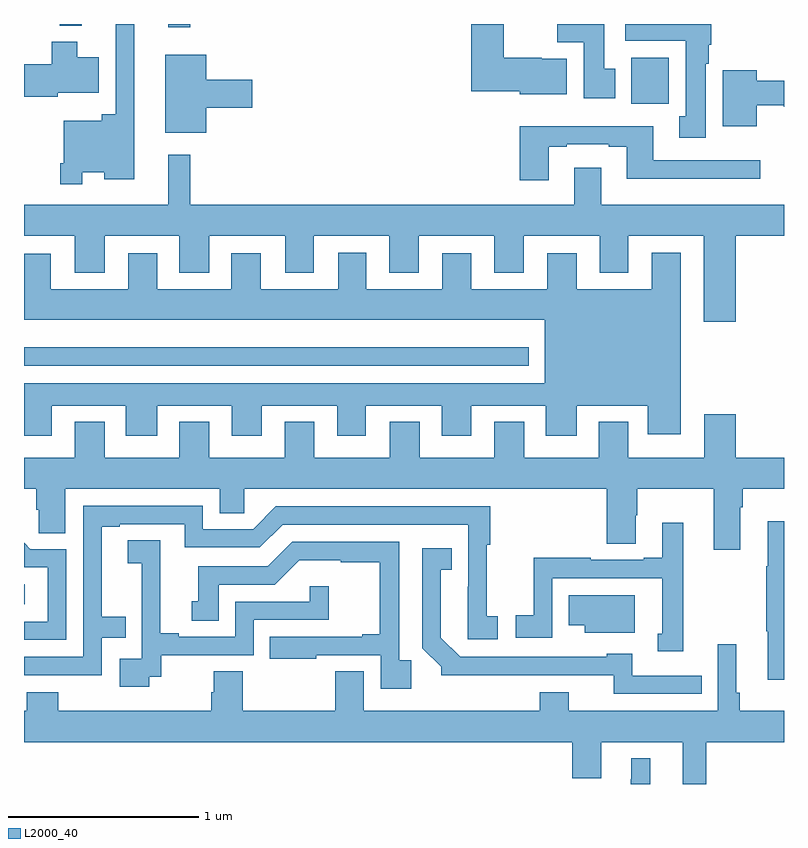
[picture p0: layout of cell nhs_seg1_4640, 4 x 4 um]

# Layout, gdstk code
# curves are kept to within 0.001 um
import gdstk
lib = gdstk.Library(unit=1e-6, precision=1e-09)
def R(c, l, rs):  # rectangles x0, y0, x1, y1
    for r in rs: c.add(gdstk.rectangle(r[:2], r[2:], *l))
def P(c, l, *ps):  # polygons
    for p in ps: c.add(gdstk.Polygon(p, *l))
L2000_40 = (2000, 40)

nhs_seg1_4640 = lib.new_cell('nhs_seg1_4640')
R(nhs_seg1_4640, L2000_40, [(363,531.146,363.004,531.25), (363,532.401,365.656,532.498), (366.197,533.78,366.394,534.022), (363.758,534.183,363.875,534.199), (363.187,534.191,363.305,534.199)])
P(nhs_seg1_4640, L2000_40, [(365.857,534.016),(365.724,534.016),(365.724,534.022),(365.524,534.022),(365.524,534.199),(365.354,534.199),(365.354,533.846),(365.61,533.846),(365.61,533.828),(365.857,533.828)],
  [(366.589,533.99),(366.604,533.99),(366.604,534.09),(366.616,534.09),(366.616,534.199),(366.165,534.199),(366.165,534.11),(366.482,534.11),(366.482,533.714),(366.449,533.714),(366.449,533.601),(366.589,533.601)],
  [(363.306,533.42),(363.422,533.42),(363.422,533.381),(363.58,533.381),(363.58,534.199),(363.483,534.199),(363.483,533.725),(363.41,533.725),(363.41,533.689),(363.21,533.689),(363.21,533.467),(363.19,533.467),(363.19,533.355),(363.306,533.355)],
  [(366.112,533.964),(366.055,533.964),(366.055,534.199),(365.806,534.199),(365.806,534.104),(365.945,534.104),(365.945,533.808),(366.112,533.808)],
  [(363.178,533.837),(363.394,533.837),(363.394,534.025),(363.28,534.025),(363.28,534.106),(363.146,534.106),(363.146,533.988),(363,533.988),(363,533.816),(363.178,533.816)],
  [(363.958,533.759),(364.201,533.759),(364.201,533.906),(363.958,533.906),(363.958,534.037),(363.743,534.037),(363.743,533.627),(363.958,533.627)],
  [(366.856,533.772),(366.999,533.772),(366.999,533.764),(367,533.764),(367,533.9),(366.856,533.9),(366.856,533.956),(366.677,533.956),(366.677,533.66),(366.856,533.66)],
  [(365.761,533.553),(365.857,533.553),(365.857,533.565),(366.077,533.565),(366.077,533.553),(366.173,533.553),(366.173,533.384),(366.874,533.384),(366.874,533.481),(366.313,533.481),(366.313,533.662),(365.609,533.662),(365.609,533.376),(365.761,533.376)],
  [(366.037,533.443),(365.897,533.443),(365.897,533.248),(363.875,533.248),(363.875,533.512),(363.758,533.512),(363.758,533.248),(363,533.248),(363,533.084),(363.266,533.084),(363.266,532.89),(363.424,532.89),(363.424,533.084),(363.818,533.084),(363.818,532.89),(363.976,532.89),(363.976,533.084),(364.376,533.084),(364.376,532.89),(364.525,532.89),(364.525,533.084),(364.922,533.084),(364.922,532.89),(365.077,532.89),(365.077,533.084),(365.474,533.084),(365.474,532.89),(365.629,532.89),(365.629,533.084),(366.029,533.084),(366.029,532.89),(366.181,532.89),(366.181,533.084),(366.578,533.084),(366.578,532.632),(366.746,532.632),(366.746,533.084),(367,533.084),(367,533.248),(366.037,533.248)],
  [(363.145,532.19),(363.536,532.19),(363.536,532.032),(363.7,532.032),(363.7,532.19),(364.094,532.19),(364.094,532.032),(364.252,532.032),(364.252,532.19),(364.649,532.19),(364.649,532.032),(364.798,532.032),(364.798,532.19),(365.198,532.19),(365.198,532.032),(365.353,532.032),(365.353,532.19),(365.747,532.19),(365.747,532.032),(365.908,532.032),(365.908,532.19),(366.284,532.19),(366.284,532.04),(366.457,532.04),(366.457,532.996),(366.305,532.996),(366.305,532.804),(365.908,532.804),(365.908,532.993),(365.753,532.993),(365.753,532.804),(365.353,532.804),(365.353,532.993),(365.201,532.993),(365.201,532.804),(364.801,532.804),(364.801,532.996),(364.655,532.996),(364.655,532.804),(364.246,532.804),(364.246,532.993),(364.091,532.993),(364.091,532.804),(363.7,532.804),(363.7,532.993),(363.548,532.993),(363.548,532.804),(363.142,532.804),(363.142,532.99),(363,532.99),(363,532.643),(365.741,532.643),(365.741,532.309),(363,532.309),(363,532.032),(363.145,532.032)],
  [(366.769,531.656),(366.782,531.656),(366.782,531.752),(367,531.752),(367,531.916),(366.746,531.916),(366.746,532.144),(366.581,532.144),(366.581,531.916),(366.181,531.916),(366.181,532.105),(366.026,532.105),(366.026,531.916),(365.632,531.916),(365.632,532.105),(365.474,532.105),(365.474,531.916),(365.083,531.916),(365.083,532.105),(364.925,532.105),(364.925,531.916),(364.528,531.916),(364.528,532.105),(364.373,532.105),(364.373,531.916),(363.976,531.916),(363.976,532.105),(363.818,532.105),(363.818,531.916),(363.424,531.916),(363.424,532.105),(363.266,532.105),(363.266,531.916),(363,531.916),(363,531.752),(363.065,531.752),(363.065,531.643),(363.078,531.643),(363.078,531.52),(363.217,531.52),(363.217,531.752),(364.031,531.752),(364.031,531.625),(364.158,531.625),(364.158,531.752),(366.068,531.752),(366.068,531.463),(366.22,531.463),(366.22,531.614),(366.228,531.614),(366.228,531.752),(366.629,531.752),(366.629,531.432),(366.769,531.432)],
  [(363.408,530.97),(363.536,530.97),(363.536,531.079),(363.409,531.079),(363.409,531.552),(363.505,531.552),(363.505,531.567),(363.846,531.567),(363.846,531.444),(364.242,531.444),(364.362,531.564),(365.337,531.564),(365.336,530.961),(365.494,530.961),(365.494,531.081),(365.436,531.081),(365.436,531.457),(365.453,531.457),(365.453,531.66),(364.326,531.66),(364.206,531.54),(363.942,531.54),(363.942,531.663),(363.312,531.663),(363.312,530.868),(363,530.868),(363,530.772),(363.408,530.772)],
  [(367,531.583),(366.914,531.583),(366.914,531.344),(366.907,531.344),(366.907,531.003),(366.914,531.003),(366.914,530.748),(367,530.748)],
  [(366.469,531.574),(366.359,531.574),(366.359,531.391),(366.263,531.391),(366.263,531.378),(365.984,531.378),(365.984,531.391),(365.683,531.391),(365.683,531.086),(365.589,531.086),(365.589,530.97),(365.781,530.97),(365.781,531.282),(366.359,531.282),(366.359,530.991),(366.335,530.991),(366.335,530.897),(366.469,530.897)],
  [(363.66,530.763),(363.722,530.763),(363.722,530.877),(364.209,530.877),(364.209,531.063),(364.604,531.063),(364.604,531.241),(364.503,531.241),(364.503,531.159),(364.113,531.159),(364.113,530.973),(363.814,530.973),(363.814,530.993),(363.718,530.993),(363.718,531.371),(363.716,531.371),(363.716,531.482),(363.546,531.482),(363.546,531.361),(363.62,531.361),(363.62,531.163),(363.621,531.163),(363.621,530.859),(363.504,530.859),(363.504,530.712),(363.66,530.712)],
  [(365.039,530.851),(364.974,530.851),(364.974,531.474),(364.413,531.474),(364.284,531.345),(363.917,531.345),(363.917,531.162),(363.884,531.162),(363.884,531.058),(364.024,531.058),(364.024,531.249),(364.32,531.249),(364.448,531.377),(364.667,531.377),(364.667,531.366),(364.873,531.366),(364.873,530.986),(364.781,530.986),(364.781,530.973),(364.294,530.973),(364.294,530.858),(364.537,530.858),(364.537,530.877),(364.878,530.877),(364.878,530.7),(365.039,530.7)],
  [(363.222,531.435),(363.033,531.435),(363,531.468),(363,531.339),(363.126,531.339),(363.126,531.054),(363,531.054),(363,530.958),(363.222,530.958)],
  [(366.566,530.769),(366.202,530.769),(366.202,530.884),(366.066,530.884),(366.066,530.868),(365.295,530.868),(365.194,530.969),(365.194,531.326),(365.252,531.326),(365.252,531.439),(365.097,531.439),(365.097,530.914),(365.196,530.815),(365.196,530.771),(366.103,530.772),(366.103,530.673),(366.566,530.673)],
  [(366.214,531.193),(365.866,531.193),(365.866,531.035),(365.951,531.035),(365.951,530.996),(366.214,530.996)],
  [(365.866,530.683),(365.714,530.683),(365.714,530.584),(364.789,530.584),(364.789,530.792),(364.637,530.792),(364.637,530.584),(364.151,530.584),(364.151,530.792),(363.998,530.792),(363.998,530.682),(363.986,530.682),(363.986,530.584),(363.179,530.584),(363.179,530.683),(363.014,530.683),(363.014,530.584),(363,530.584),(363,530.42),(365.885,530.42),(365.885,530.228),(366.037,530.228),(366.037,530.42),(366.467,530.42),(366.467,530.199),(366.59,530.199),(366.59,530.42),(367,530.42),(367,530.584),(366.767,530.584),(366.767,530.68),(366.748,530.68),(366.748,530.935),(366.651,530.935),(366.651,530.584),(365.866,530.584)],
  [(366.295,530.335),(366.197,530.335),(366.197,530.225),(366.193,530.225),(366.193,530.199),(366.295,530.199)])

lib.write_gds('nhs_seg1_4640.gds')
